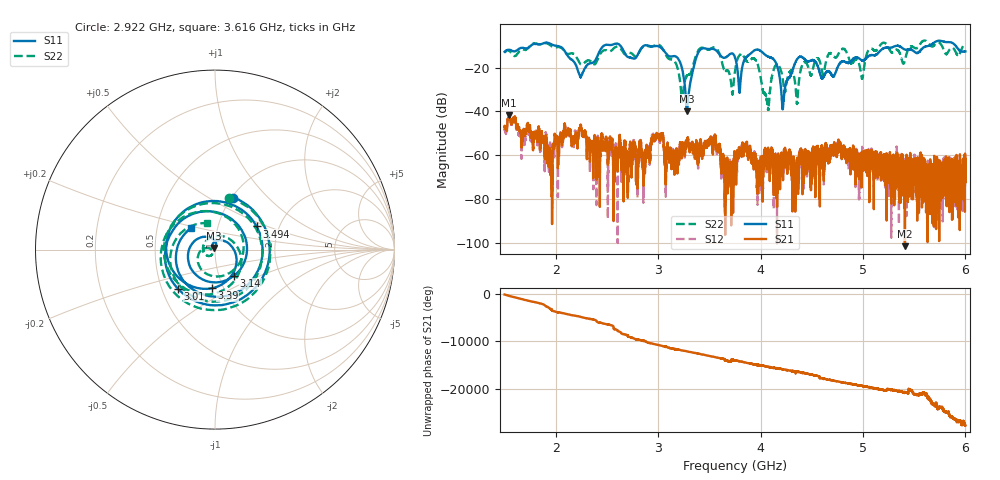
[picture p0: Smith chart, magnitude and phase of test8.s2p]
!Keysight Technologies N9923A: A.08.15
!Date: Monday, 19 February 2024 16:38:07
!Timezone: (GMT-05:00) Eastern Time (US & Canada)
!Model: N9923A
!Serial: MY52412730
!GPS Latitude:
!GPS Longitude:
!GPS TimeStamp: 0001-01-01 00:00:00Z
!GPS Seconds Since Last Read: 0
!CHECKSUM:1800014717
!Correction: S11(ON Q)S21(ON Q)S12(ON Q)S22(ON Q)
!S2P File: Measurements:S11,S21,S12,S22:
# Hz S DB R 50
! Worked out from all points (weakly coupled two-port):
!   10001 points, 1.5 GHz to 6 GHz, reference 50 ohm
!   highest |S21| = -41.85 dB at 1.544 GHz (marker M1); lowest = -101.6 dB at 5.41 GHz (marker M2)
!   lowest |S11| = -40.0 dB at 3.282 GHz (marker M3), VSWR 1.02, Z = 49.5 + j0.864 ohm
!   |S11| at or under -10 dB: start of sweep to 1.755 GHz; 1.999 GHz to 2.469 GHz (470.2 MHz wide, 21.1 % of centre); 2.905 GHz to 5.648 GHz (2.743 GHz wide, 64.1 % of centre) (the widest 3 of 6)
!   |S22| runs from -39.4 to -7.6 dB; largest |S21 - S12| = 0.0015
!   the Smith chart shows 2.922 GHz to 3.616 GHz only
!   S11 on the Smith chart (normalised r, x): 2.922 GHz: 1.02, +0.65; 3.01 GHz: 0.60, -0.29; 3.14 GHz: 1.18, -0.36; 3.39 GHz: 0.88, -0.40; 3.494 GHz: 1.53, +0.42; 3.616 GHz: 0.75, +0.19
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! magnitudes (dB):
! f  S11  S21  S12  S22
! 1.5 GHz  -12.8  -47.2  -48.1  -13.2
! 1.544 GHz  -11.9  -41.8  -42.8  -12.4
! 1.948 GHz  -9.2  -65.4  -56.8  -9.9
! 2.25 GHz  -23.8  -48.3  -48.1  -18.6
! 2.922 GHz  -10.3  -58.9  -57.6  -10.5
! 3 GHz  -10.3  -51.8  -51.5  -9.5
! 3.01 GHz  -10.4  -51.8  -52.3  -9.7
! 3.14 GHz  -14.9  -61.1  -60.8  -16.4
! 3.282 GHz  -40.0  -54.6  -53.5  -23.7
! 3.39 GHz  -13.3  -61.0  -63.5  -12.4
! 3.494 GHz  -11.5  -55.4  -55.1  -11.8
! 3.616 GHz  -14.9  -65.3  -63.8  -16.3
! 3.75 GHz  -15.3  -60.8  -61.9  -21.3
! 3.797 GHz  -30.5  -57.8  -57.8  -14.2
! 3.942 GHz  -12.1  -61.5  -60.4  -16.1
! 4.066 GHz  -14.8  -59.5  -61.2  -36.3
! 4.117 GHz  -15.8  -64.5  -62.7  -22.8
! 4.219 GHz  -37.6  -66.2  -68.8  -26.3
! 4.5 GHz  -16.6  -66.8  -62.5  -22.8
! 5.25 GHz  -11.0  -65.2  -64.8  -10.9
! 5.41 GHz  -11.8  -101.6  -80.2  -16.6
! 6 GHz  -12.6  -64.7  -64.6  -9.1
